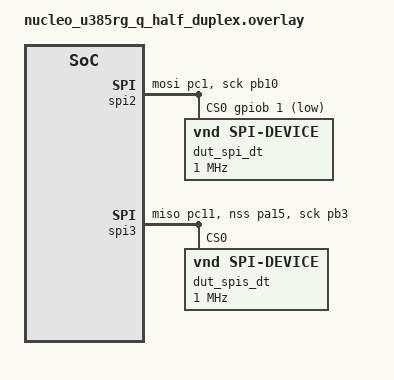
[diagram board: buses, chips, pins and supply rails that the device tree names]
/*
 * SPDX-FileCopyrightText: Copyright (c) 2026 STMicroelectronics
 * SPDX-License-Identifier: Apache-2.0
 */

#include <zephyr/dt-bindings/spi/spi.h>

/* The two SPI instances need to be connected as follows:
 * CN7:36 (SPI2 MOSI) to CN7:2 (SPI3 MISO)
 * CN10:24 (SPI2 CS) to CN7:17 (SPI3 NSS)
 * CN10:25 (SPI2 SCK) to CN10:31 (SPI3 SCK)
 */

&usart3 {
	/* Disable USART3 to keep PC11 for SPI3 MISO */
	status = "disabled";
};

&spi2 {
	pinctrl-0 = <&spi2_mosi_pc1 &spi2_sck_pb10>;
	pinctrl-names = "default";
	cs-gpios = <&gpiob 1 GPIO_ACTIVE_LOW>;
	interrupts = <60 1>;
	status = "okay";

	dut_spi_dt: test-spi-dev@0 {
		compatible = "vnd,spi-device";
		reg = <0>;
		spi-max-frequency = <DT_FREQ_M(1)>;
		duplex = <SPI_HALF_DUPLEX>;
	};
};

dut_spis: &spi3 {
	pinctrl-0 = <&spi3_miso_pc11 &spi3_nss_pa15 &spi3_sck_pb3>;
	pinctrl-names = "default";
	status = "okay";

	dut_spis_dt: test-spi-dev@0 {
		compatible = "vnd,spi-device";
		reg = <0>;
		spi-max-frequency = <DT_FREQ_M(1)>;
		duplex = <SPI_HALF_DUPLEX>;
	};
};
